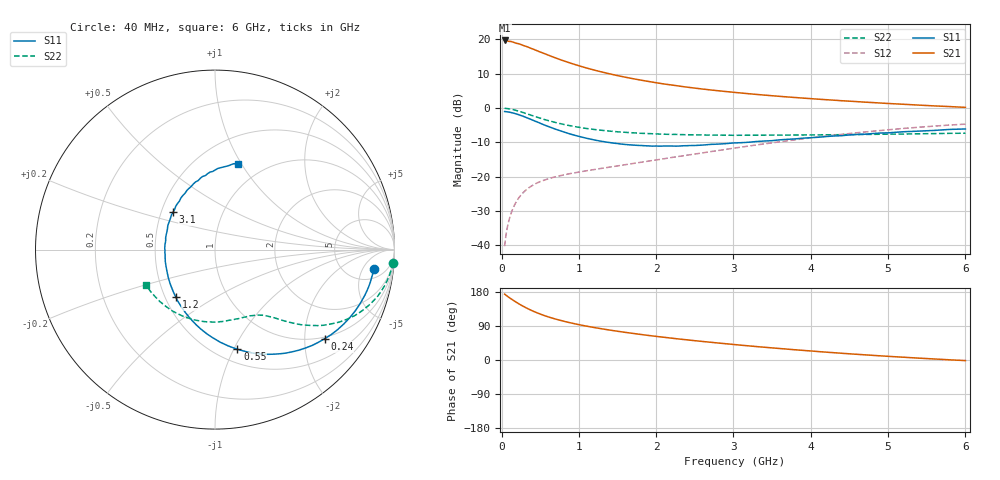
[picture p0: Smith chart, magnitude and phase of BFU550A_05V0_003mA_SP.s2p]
! Filename:  P:\Prog\Test\Noise\ATS_data\Testdata_Net\03 Spar\BFU550A_APG2013_35_C05_05p0V_003mA_SP_CM01_D.s2p
! Date/Time: Tue 16/Apr/2013 15:10:20
! BFU550A_APG2013_35_C05_05p0V_1to35mA_SP_CM01_Bias3_R.s2p
! MDIF S-parameter v. bias file
! BFU550A_APG2013_35_C05_05p0V_1to35mA_SP_CM01
! Date/time Mon Apr 15 15:41:37 2013
! VAR V_out= 5.0010
! VAR I_out= 3.0000
! VAR V_in= 0.8080
! VAR I_in= 0.0314
! Device data file deembeded for feedlines and parallel
! Original file: \03 Spar\BFU550A_APG2013_35_C05_05p0V_003mA_SP_CM01_R.s2p
! Feed-files: PR017V01_150413_Feed1.s2p, PR017V01_150413_Feed2.s2p
! Parallel-file: PR017V01_150413_Par.s2p
# MHz S MA R 50
!  Freq-MHz  S11-mag  S11-arg  S21-mag  S21-arg  S12-mag  S12-arg  S22-mag  S22-arg
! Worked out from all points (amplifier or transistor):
!   98 points, 40 MHz to 6 GHz, reference 50 ohm
!   highest |S21| = 19.7 dB at 40 MHz (marker M1)
!   |S21| within 3 dB of that: start of sweep to 460.3 MHz
!   unconditionally stable (mu >= 1): 1.875 GHz to 2.724 GHz
!   at 300 MHz: K = 0.28, MSG = 21.2 dB, |S12| = -24.2 dB
!   at 1.6 GHz: K = 0.96, MSG = 12.8 dB, |S12| = -16.5 dB
!   at 6 GHz: K = 0.87, MSG = 2.4 dB, |S12| = -4.7 dB
!   S11 on the Smith chart (normalised r, x): 40 MHz: 8, -9; 240 MHz: 0.95, -2.49; 550 MHz: 0.63, -1.03; 1.2 GHz: 0.57, -0.34; 3.1 GHz: 0.58, +0.27; 6 GHz: 0.77, +0.97
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40  0.8917 -6.9  9.68 173.9  0.009709 85.8  0.9935 -4.2
60  0.8862 -10.3  9.559 170.5  0.01461 83.8  0.9887 -6.3
80  0.8803 -13.8  9.525 167.6  0.01935 82.0  0.9828 -8.3
120  0.8626 -20.5  9.362 161.8  0.0284 78.2  0.9652 -12.2
180  0.8288 -30.0  8.91 153.8  0.04103 73.0  0.9298 -17.7
240  0.787 -39.2  8.541 146.4  0.05201 68.7  0.8892 -22.4
320  0.7285 -50.4  7.927 137.5  0.06438 63.8  0.8311 -27.8
360  0.6994 -55.5  7.604 133.5  0.06978 61.8  0.8034 -30.1
440  0.6417 -65.3  7.006 126.2  0.07895 58.5  0.7498 -33.9
550  0.5696 -77.3  6.258 117.5  0.08885 55.2  0.6838 -38.2
650  0.5166 -86.8  5.646 111.0  0.09652 53.3  0.6374 -41.0
750  0.471 -95.6  5.128 105.2  0.1029 52.2  0.597 -43.3
900  0.4153 -107.9  4.495 97.7  0.1116 51.3  0.5505 -46.0
1050  0.3747 -119.0  3.986 91.3  0.1193 51.4  0.5139 -48.3
1200  0.3433 -129.5  3.581 85.7  0.1272 51.8  0.4877 -50.3
1550  0.299 -151.7  2.897 74.4  0.1465 53.6  0.4473 -54.8
2050  0.2787 -179.0  2.294 61.2  0.1788 56.1  0.418 -61.8
2500  0.2851 160.5  1.956 51.0  0.2138 57.2  0.4074 -69.4
3100  0.313 138.2  1.659 39.1  0.2699 56.8  0.4018 -81.0
4100  0.3759 110.6  1.349 22.2  0.379 50.8  0.4069 -103.8
5200  0.4521 88.1  1.137 7.3  0.5054 39.5  0.4184 -131.4
6000  0.4961 74.8  1.025 -1.5  0.5834 29.6  0.4301 -152.9
